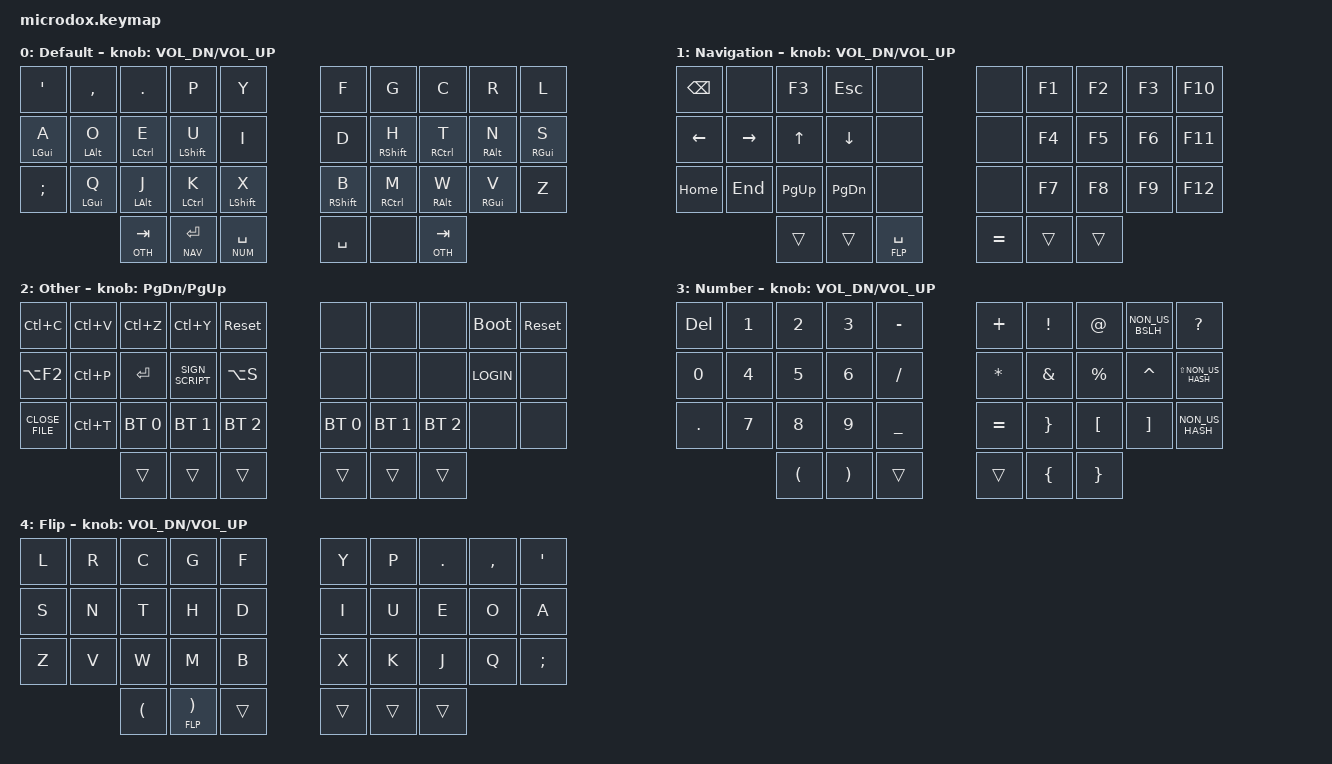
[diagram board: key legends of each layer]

#include <behaviors.dtsi>
#include <dt-bindings/zmk/keys.h>
#include <dt-bindings/zmk/bt.h>
#include <dt-bindings/zmk/outputs.h>
#include <dt-bindings/zmk/rgb.h>

/*          35 KEY MATRIX / LAYOUT MAPPING
// | 0  | 1  | 2  | 3  | 4  |       | 5  | 6  | 7  | 8  | 9 |
// | 10 | 11 | 12 | 13 | 14 |       | 15 | 16 | 17 | 18 | 19 |
// | 20 | 21 | 22 | 23 | 24 |       | 25 | 26 | 27 | 28 | 29 |
//            | 30 | 31 | 32 |     | 33 | 34 | 35 |
*/

#define KEYS_L 0 1 2 3 4 10 11 12 13 14 20 21 22 23 24  // left-hand keys
#define KEYS_R 5 6 7 8 9 15 16 17 18 19 25 26 27 28 29  // right-hand keys
#define THUMBS 30 31 32 33 34 35                        // thumb keys

#define DEFAULT 0
#define NAV     1
#define OTH     2
#define NUM     3
#define FLP     4

#define TAPPING_TERM 200
#define QUICK_TAP    100

#define COMBO(NAME, BINDINGS, KEYPOS, LAYERS) \
  combo_##NAME { \
    timeout-ms = <25>; \
    bindings = <BINDINGS>; \
    key-positions = <KEYPOS>; \
    layers = <LAYERS>; \
  };

  &caps_word {
    continue-list = <UNDERSCORE MINUS SPACE SINGLE_QUOTE DOUBLE_QUOTES EXCLAMATION QUESTION BACKSPACE EQUAL>;
};

&lt {
	flavor = "tap-preferred";
	tapping-term-ms = <TAPPING_TERM>;
};

&mt {
	flavor = "tap-preferred";
	tapping-term-ms = <TAPPING_TERM>;
};



/ {

    combos {
                compatible = "zmk,combos";

                /* Additional Nav */  
                COMBO(flip, &mo 4, 31 32, DEFAULT)               
        };
};

/ {
    macros {
      ZMK_MACRO(OPEN_SCRIPT,
        wait-ms = <30>;
        tap-ms = <40>;
        bindings 
                = <&macro_press &kp LALT>
                , <&macro_tap &kp F2>
                , <&macro_release &kp LALT>
                ;
                )	
      ZMK_MACRO(SIGN_SCRIPT,
        wait-ms = <0>;
        tap-ms = <0>;
        bindings 
                = <&macro_tap &kp PG_DN &kp PG_DN &kp PG_DN &kp PG_DN &kp PG_DN &kp PG_DN &kp UP &kp UP &kp UP &kp UP &kp UP &kp UP &kp UP>
                ;
                )
      ZMK_MACRO(LOGIN,
        wait-ms = <10>;
        tap-ms = <10>;
        bindings 
                = <&macro_tap &kp EXCL>
                , <&macro_press &kp LSHFT> 
                , <&macro_tap &kp S>
                , <&macro_release &kp LSHFT>
                , <&macro_tap &kp A &kp M &kp S &kp U &kp N &kp G &kp N0 &kp N1>
                ;
                )
      ZMK_MACRO(CLOSE_FILE,
        wait-ms = <30>;
        tap-ms = <40>;
        bindings 
                = <&macro_press &kp LCTRL>
                , <&macro_tap &kp F4>
                , <&macro_release &kp LCTRL>	
                , <&macro_tap &kp ENTER>
                ;
                )
       };
};

/ {

    behaviors {
        hm: homerow_mods {
            compatible = "zmk,behavior-hold-tap";
            label = "LAYER_MODS";
            #binding-cells = <2>;
            tapping-term-ms = <TAPPING_TERM>;
            quick_tap_ms = <0>;
            flavor = "tap-preferred";
            bindings = <&kp>, <&kp>;
        };

        hml: homerow_mods_left {
            compatible = "zmk,behavior-hold-tap";
            label = "HOMEROW_MODS_LEFT";
            #binding-cells = <2>;
            tapping-term-ms = <TAPPING_TERM>;
            quick_tap_ms = <0>;
            flavor = "tap-preferred";
            bindings = <&kp>, <&kp>;
            hold-trigger-key-positions = <KEYS_R THUMBS>;
            hold-trigger-on-release;             // delay positional check until key-release
        };

         hmr: homerow_mods_right {
            compatible = "zmk,behavior-hold-tap";
            label = "HOMEROW_MODS_RIGHT";
            #binding-cells = <2>;
            tapping-term-ms = <TAPPING_TERM>;
            quick_tap_ms = <0>;
            flavor = "tap-preferred";
            bindings = <&kp>, <&kp>;
            hold-trigger-key-positions = <KEYS_L THUMBS>;
            hold-trigger-on-release;             // delay positional check until key-release
        };

        hs: homerow_shift {
            compatible = "zmk,behavior-hold-tap";
            label = "HOMEROW_SHIFT";
            #binding-cells = <2>;
            tapping-term-ms = <TAPPING_TERM>;
            quick_tap_ms = <0>;
            flavor = "tap-preferred";
            bindings = <&kp>, <&kp>;
        };
    };

   

    keymap {
        compatible = "zmk,keymap";

        default_layer {
            label = "Default";

            sensor-bindings = <&inc_dec_kp C_VOL_DN C_VOL_UP>;

            bindings = <
//╭────────────┬─────────────┬─────────────┬─────────────┬──────────╮       ╭────────────┬─────────────┬─────────────┬─────────────┬──────────╮
    &kp APOS     &kp COMMA     &kp DOT       &kp P         &kp Y              &kp F        &kp G         &kp C         &kp R         &kp L
//├────────────┼─────────────┼─────────────┼─────────────┼──────────┤       ├────────────┼─────────────┼─────────────┼─────────────┼──────────┤
    &hm LGUI A   &hml LALT O   &hml LCTRL E  &hml LSHFT U  &kp I              &kp D        &hmr RSHFT H  &hmr RCTRL T  &hmr RALT N   &hmr RGUI S
//├────────────┼─────────────┼─────────────┼─────────────┼──────────┤       ├────────────┼─────────────┼─────────────┼─────────────┼──────────┤
    &kp SEMI     &hm LGUI Q    &hml LALT J   &hml LCTRL K  &hml LSHFT X       &hmr RSHFT B &hmr RCTRL M  &hmr RALT W   &hmr RGUI V   &kp Z
//╰────────────┴─────────────┼─────────────┼─────────────┼──────────╯       ╰────────────┼─────────────┼─────────────┼─────────────┼──────────╯
                 &lt OTH TAB  &lt NAV ENTER       &lt NUM SPACE                       &kp SPACE           &none        &lt OTH TAB 
 //            ╰─────────────┴─────────────┴────────────────────────╯       ╰──────────────────────────┴─────────────┴─────────────╯
            >;
        };

        nav_layer {
            label = "Navigation";

            sensor-bindings = <&inc_dec_kp C_VOL_DN C_VOL_UP>;

            bindings = <
//╭────────────┬─────────────┬─────────────┬─────────────┬──────────╮       ╭────────────┬─────────────┬─────────────┬─────────────┬──────────╮
    &kp BSPC    &none         &kp F3        &kp ESC       &none                &none      &kp F1     &kp F2     &kp F3     &kp F10
//├────────────┼─────────────┼─────────────┼─────────────┼──────────┤       ├────────────┼─────────────┼─────────────┼─────────────┼──────────┤
    &kp LEFT    &kp RIGHT     &kp UP        &kp DOWN      &none                &none      &kp F4     &kp F5     &kp F6     &kp F11
//├────────────┼─────────────┼─────────────┼─────────────┼──────────┤       ├────────────┼─────────────┼─────────────┼─────────────┼──────────┤
    &kp HOME    &kp END       &kp PG_UP     &kp PG_DN     &none                &none      &kp F7     &kp F8     &kp F9     &kp F12
//╰────────────┴─────────────┼─────────────┼─────────────┼──────────╯       ╰────────────┼─────────────┼─────────────┼─────────────┼──────────╯
                 &trans        &trans        &lt FLP SPACE                         &kp EQUAL                &trans        &trans
 //            ╰─────────────┴─────────────┴────────────────────────╯       ╰──────────────────────────┴─────────────┴─────────────╯
               >;
        };

        oth_layer {
            label = "Other";

            sensor-bindings = <&inc_dec_kp PG_DN PG_UP>;

            bindings = <
//╭────────────┬─────────────┬─────────────┬─────────────┬──────────╮       ╭────────────┬─────────────┬─────────────┬─────────────┬──────────╮
    &kp LC(C)    &kp LC(V)     &kp LC(Z)     &kp LC(Y)    &sys_reset          &none       &none         &none          &bootloader   &sys_reset 
//├────────────┼─────────────┼─────────────┼─────────────┼──────────┤       ├────────────┼─────────────┼─────────────┼─────────────┼──────────┤
    &kp LA(F2)     &kp LC(P)   &kp ENTER     &SIGN_SCRIPT  &kp LA(S)          &none       &none         &none          &LOGIN        &none 
//├────────────┼─────────────┼─────────────┼─────────────┼──────────┤       ├────────────┼─────────────┼─────────────┼─────────────┼──────────┤
    &CLOSE_FILE   &kp LC(T)   &bt BT_SEL 0  &bt BT_SEL 1  &bt BT_SEL 2       &bt BT_SEL 0  &bt BT_SEL 1  &bt BT_SEL 2     &none       &none 
//╰────────────┴─────────────┼─────────────┼─────────────┼──────────╯       ╰────────────┼─────────────┼─────────────┼─────────────┼──────────╯
                 &trans        &trans        &trans                            &trans                    &trans     &trans
 //            ╰─────────────┴─────────────┴────────────────────────╯       ╰──────────────────────────┴─────────────┴─────────────╯
                >; 
        };

        number_layer {
            label = "Number";

            sensor-bindings = <&inc_dec_kp C_VOL_DN C_VOL_UP>;

            bindings = <
//╭────────────┬─────────────┬─────────────┬─────────────┬──────────╮       ╭────────────┬─────────────┬─────────────┬─────────────┬──────────╮
    &kp DEL      &kp N1        &kp N2        &kp N3       &kp MINUS           &kp PLUS    &kp EXCL      &kp AT_SIGN   &kp NON_US_BSLH  &kp QMARK 
//├────────────┼─────────────┼─────────────┼─────────────┼──────────┤       ├────────────┼─────────────┼─────────────┼─────────────┼──────────┤
    &kp N0       &kp N4        &kp N5        &kp N6       &kp SLASH           &kp STAR    &kp AMPS      &kp PRCNT     &kp CARET        &kp LS(NON_US_HASH) 
//├────────────┼─────────────┼─────────────┼─────────────┼──────────┤       ├────────────┼─────────────┼─────────────┼─────────────┼──────────┤
    &kp DOT      &kp N7        &kp N8        &kp N9       &kp UNDER           &kp EQUAL   &kp RBRC      &kp LBKT      &kp RBKT         &kp NON_US_HASH 
//╰────────────┴─────────────┼─────────────┼─────────────┼──────────╯       ╰────────────┼─────────────┼─────────────┼─────────────┼──────────╯
                 &kp LPAR       &kp RPAR        &trans                            &trans                    &kp LBRC     &kp RBRC
 //            ╰─────────────┴─────────────┴────────────────────────╯       ╰──────────────────────────┴─────────────┴─────────────╯
            >;
        };

        flip_layer {
            label = "Flip";

            sensor-bindings = <&inc_dec_kp C_VOL_DN C_VOL_UP>;

            bindings = <
//╭────────────┬─────────────┬─────────────┬─────────────┬──────────╮       ╭────────────┬─────────────┬─────────────┬─────────────┬──────────╮
    &kp L          &kp R         &kp C           &kp G        &kp F         &kp Y          &kp P         &kp DOT        &kp COMMA    &kp APOS
//├────────────┼─────────────┼─────────────┼─────────────┼──────────┤       ├────────────┼─────────────┼─────────────┼─────────────┼──────────┤
    &kp S          &kp N         &kp T           &kp H        &kp D         &kp I          &kp U         &kp E          &kp O       &kp A
//├────────────┼─────────────┼─────────────┼─────────────┼──────────┤       ├────────────┼─────────────┼─────────────┼─────────────┼──────────┤
    &kp Z          &kp V         &kp W           &kp M        &kp B         &kp X          &kp K         &kp J          &kp Q       &kp SEMI
//╰────────────┴─────────────┼─────────────┼─────────────┼──────────╯       ╰────────────┼─────────────┼─────────────┼─────────────┼──────────╯
                 &kp LPAR       &lt FLP RPAR      &trans                          &trans                    &trans     &trans
 //            ╰─────────────┴─────────────┴────────────────────────╯       ╰──────────────────────────┴─────────────┴─────────────╯
            >;
        };
    };
};
